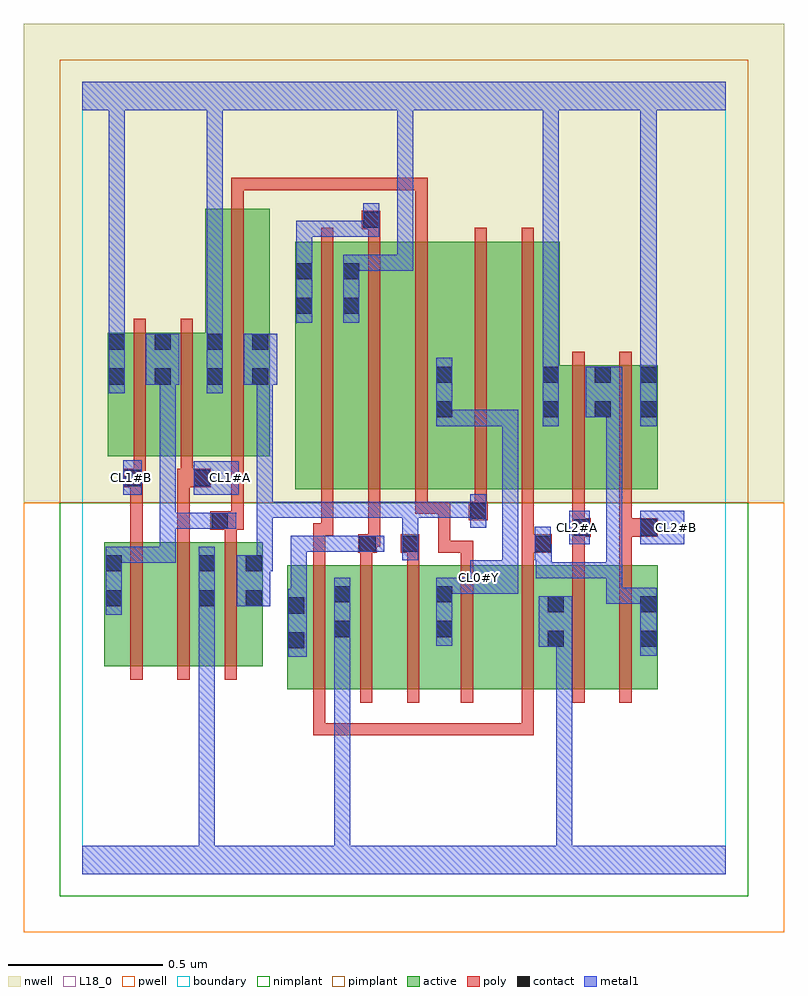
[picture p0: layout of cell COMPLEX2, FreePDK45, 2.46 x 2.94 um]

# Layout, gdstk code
import gdstk
lib = gdstk.Library(unit=1e-6, precision=1e-09)
def R(c, l, rs):  # rectangles x0, y0, x1, y1
    for r in rs: c.add(gdstk.rectangle(r[:2], r[2:], *l))
def A(c, l, x, y, w, h, nx, ny, dx, dy):  # array of equal rectangles
    R(c, l, [(x+i*dx, y+j*dy, x+i*dx+w, y+j*dy+h) for i in range(nx) for j in range(ny)])
active = (1, 0)
pwell = (2, 0)
nwell = (3, 0)
nimplant = (4, 0)
pimplant = (5, 0)
poly = (9, 0)
contact = (10, 0)
metal1 = (11, 0)
L18_0 = (18, 0)
boundary = (235, 0)

complex2 = lib.new_cell('COMPLEX2')
R(complex2, active, [(0.662,0.598,0.722,0.998), (0.662,0.598,0.87,0.998), (0.81,0.598,0.87,0.934), (0.81,0.598,0.994,0.998), (0.994,0.598,1.2,0.998), (1.14,0.598,1.32,0.998), (1.14,0.598,1.2,0.934), (1.32,0.598,1.56,0.998), (1.5,0.598,1.68,0.998), (1.5,0.598,1.56,0.902), (1.68,0.598,1.86,0.998), (1.8,0.598,1.86,0.998), (0.072,0.672,0.252,1.072), (0.252,0.672,0.432,1.072), (0.372,0.672,0.584,1.072), (0.072,0.756,0.132,1.072), (0.372,0.756,0.432,1.072), (0.524,0.756,0.584,1.072), (0.688,1.244,0.748,2.044), (0.688,1.244,0.9,2.044), (0.84,1.244,1.02,2.044), (0.84,1.244,0.9,2.044), (1.02,1.244,1.2,2.044), (1.14,1.244,1.364,2.044), (1.14,1.244,1.2,2.044), (1.364,1.244,1.544,2.044), (1.484,1.244,1.544,1.644), (1.484,1.244,1.712,1.644), (1.652,1.244,1.712,1.644), (1.652,1.244,1.86,1.644), (1.8,1.244,1.86,1.644), (0.082,1.35,0.142,1.75), (0.082,1.35,0.29,1.75), (0.23,1.35,0.29,1.75), (0.23,1.35,0.458,1.75), (0.398,1.35,0.458,1.75), (0.398,1.35,0.606,2.15), (0.546,1.35,0.606,2.044)])
R(complex2, pwell, [(-0.188,-0.188,2.268,1.2)])
R(complex2, nwell, [(-0.188,1.2,2.268,2.748)])
R(complex2, nimplant, [(-0.072,-0.072,2.152,1.2)])
R(complex2, pimplant, [(-0.072,1.2,2.152,2.632)])
A(complex2, poly, 0.746, 0.554, 0.04, 0.488, 3, 1, 0.152, 0)
A(complex2, poly, 0.156, 0.628, 0.04, 0.488, 3, 1, 0.152, 0)
A(complex2, poly, 0.772, 1.2, 0.04, 0.888, 3, 1, 0.152, 0)
R(complex2, poly, [(0.746,0.448,0.786,0.488), (0.746,0.448,0.786,0.594), (0.746,0.448,0.892,0.488), (0.852,0.448,0.892,0.488), (0.852,0.448,0.892,0.488), (0.852,0.448,0.892,0.488), (0.852,0.448,0.998,0.488), (0.958,0.448,0.998,0.488), (0.958,0.448,0.998,0.488), (0.958,0.448,0.998,0.488), (0.958,0.448,1.354,0.488), (1.314,0.448,1.354,0.488), (1.314,0.448,1.354,0.488), (1.314,0.448,1.354,0.488), (1.314,0.448,1.46,0.488), (1.42,0.448,1.46,0.488), (1.42,0.448,1.46,0.488), (1.42,0.448,1.46,0.488), (1.42,0.448,1.46,0.594), (1.224,0.554,1.264,1.042), (1.42,0.554,1.46,1.042), (1.584,0.554,1.624,1.042), (1.736,0.554,1.776,1.042), (0.746,1.002,0.786,1.134), (0.898,1.002,0.938,1.078), (1.05,1.002,1.09,1.078), (1.224,1.002,1.264,1.078), (1.42,1.002,1.46,1.078), (1.584,1.002,1.624,1.13), (1.736,1.002,1.776,1.13), (0.892,1.038,0.952,1.098), (1.03,1.038,1.09,1.098), (1.15,1.038,1.19,1.078), (1.15,1.038,1.264,1.078), (1.15,1.038,1.19,1.204), (1.224,1.038,1.264,1.078), (1.42,1.038,1.518,1.098), (0.912,1.058,0.952,1.098), (0.912,1.058,0.964,1.098), (0.924,1.058,0.964,1.24), (1.42,1.058,1.46,1.098), (1.42,1.058,1.46,1.098), (1.42,1.058,1.46,1.24), (0.156,1.076,0.196,1.29), (0.308,1.076,0.348,1.29), (0.46,1.076,0.5,1.152), (1.584,1.09,1.624,1.13), (1.584,1.09,1.624,1.13), (1.584,1.09,1.644,1.15), (1.736,1.09,1.86,1.15), (0.746,1.094,0.786,1.134), (0.746,1.094,0.786,1.134), (0.746,1.094,0.812,1.134), (0.772,1.094,0.812,1.24), (1.584,1.11,1.624,1.24), (1.736,1.11,1.776,1.24), (1.736,1.11,1.776,1.15), (1.736,1.11,1.776,1.15), (0.414,1.112,0.522,1.172), (0.482,1.132,0.522,1.172), (0.482,1.132,0.522,1.172), (0.482,1.132,0.522,1.346), (1.25,1.144,1.31,1.204), (1.076,1.164,1.116,1.204), (1.076,1.164,1.116,1.24), (1.076,1.164,1.19,1.204), (1.15,1.164,1.19,1.204), (1.268,1.164,1.308,1.24), (1.268,1.2,1.308,2.088), (1.42,1.2,1.46,2.088), (1.584,1.2,1.624,1.688), (1.736,1.2,1.776,1.688), (0.136,1.25,0.196,1.31), (0.308,1.25,0.348,1.29), (0.308,1.25,0.348,1.29), (0.308,1.25,0.416,1.31), (0.156,1.27,0.196,1.31), (0.156,1.27,0.206,1.31), (0.166,1.27,0.206,1.346), (0.318,1.27,0.358,1.346), (0.166,1.306,0.206,1.794), (0.318,1.306,0.358,1.794), (0.482,1.306,0.522,2.194), (0.924,2.048,0.964,2.124), (1.076,2.048,1.116,2.25), (0.904,2.084,0.964,2.144), (0.482,2.154,0.522,2.25), (0.482,2.21,0.522,2.25), (0.482,2.21,0.522,2.25), (0.482,2.21,0.522,2.25), (0.482,2.21,0.628,2.25), (0.588,2.21,0.628,2.25), (0.588,2.21,0.628,2.25), (0.588,2.21,0.628,2.25), (0.588,2.21,0.628,2.25), (0.588,2.21,0.628,2.25), (0.588,2.21,0.892,2.25), (0.852,2.21,0.892,2.25), (0.852,2.21,0.892,2.25), (0.852,2.21,0.892,2.25), (0.852,2.21,1.084,2.25), (1.044,2.21,1.084,2.25), (1.044,2.21,1.116,2.25), (1.076,2.21,1.116,2.25), (1.076,2.21,1.116,2.25), (1.076,2.21,1.116,2.25)])
R(complex2, contact, [(0.666,0.73,0.718,0.782), (1.504,0.734,1.556,0.786), (1.804,0.734,1.856,0.786), (0.814,0.766,0.866,0.818), (1.144,0.766,1.196,0.818), (0.666,0.842,0.718,0.894), (1.504,0.846,1.556,0.898), (1.804,0.846,1.856,0.898), (0.076,0.866,0.128,0.918), (0.376,0.866,0.428,0.918), (0.528,0.866,0.58,0.918), (0.814,0.878,0.866,0.93), (1.144,0.878,1.196,0.93), (0.076,0.978,0.128,1.03), (0.376,0.978,0.428,1.03), (0.528,0.978,0.58,1.03), (0.896,1.042,0.948,1.094), (1.034,1.042,1.086,1.094), (1.462,1.042,1.514,1.094), (1.588,1.094,1.64,1.146), (1.804,1.094,1.856,1.146), (0.418,1.116,0.47,1.168), (1.254,1.148,1.306,1.2), (0.14,1.254,0.192,1.306), (0.36,1.254,0.412,1.306), (1.144,1.476,1.196,1.528), (1.488,1.476,1.54,1.528), (1.656,1.476,1.708,1.528), (1.804,1.476,1.856,1.528), (0.086,1.582,0.138,1.634), (0.234,1.582,0.286,1.634), (0.402,1.582,0.454,1.634), (0.55,1.582,0.602,1.634), (1.144,1.588,1.196,1.64), (1.488,1.588,1.54,1.64), (1.656,1.588,1.708,1.64), (1.804,1.588,1.856,1.64), (0.086,1.694,0.138,1.746), (0.234,1.694,0.286,1.746), (0.402,1.694,0.454,1.746), (0.55,1.694,0.602,1.746), (0.692,1.81,0.744,1.862), (0.844,1.81,0.896,1.862), (0.692,1.922,0.744,1.974), (0.844,1.922,0.896,1.974), (0.908,2.088,0.96,2.14)])
R(complex2, metal1, [(0,0,2.08,0.092), (0.376,0.04,0.428,0.092), (0.376,0.04,0.428,0.092), (0.376,0.04,0.428,0.092), (0.376,0.04,0.428,0.092), (0.376,0.04,0.428,0.092), (0.376,0.04,0.428,0.092), (0.376,0.04,0.428,0.092), (0.376,0.04,0.428,0.092), (0.376,0.04,0.428,0.68), (0.814,0.04,0.866,0.092), (0.814,0.04,0.866,0.092), (0.814,0.04,0.866,0.202), (1.532,0.04,1.584,0.092), (1.532,0.04,1.584,0.092), (1.532,0.04,1.584,0.092), (1.532,0.04,1.584,0.092), (1.532,0.04,1.584,0.092), (1.532,0.04,1.584,0.092), (1.532,0.04,1.584,0.092), (1.532,0.04,1.584,0.092), (1.532,0.04,1.584,0.092), (1.532,0.04,1.584,0.092), (1.532,0.04,1.584,0.092), (1.532,0.04,1.584,0.092), (1.532,0.04,1.584,0.786), (0.814,0.15,0.866,0.202), (0.814,0.15,0.866,0.202), (0.814,0.15,0.866,0.202), (0.814,0.15,0.866,0.202), (0.814,0.15,0.866,0.202), (0.814,0.15,0.866,0.202), (0.814,0.15,0.866,0.202), (0.814,0.15,0.866,0.202), (0.814,0.15,0.866,0.202), (0.814,0.15,0.866,0.79), (0.376,0.628,0.428,0.68), (0.376,0.628,0.428,0.89), (0.666,0.702,0.726,0.922), (1.804,0.706,1.856,0.926), (1.476,0.734,1.584,0.898), (0.814,0.738,0.866,0.958), (1.144,0.738,1.196,0.958), (0.076,0.838,0.128,1.058), (0.376,0.838,0.428,0.89), (0.376,0.838,0.428,0.89), (0.376,0.838,0.428,1.058), (0.5,0.866,0.608,1.03), (0.674,0.87,0.726,1.094), (1.694,0.874,1.746,0.926), (1.694,0.874,1.856,0.926), (1.694,0.874,1.746,1.008), (1.804,0.874,1.856,0.926), (1.804,0.874,1.856,0.926), (1.144,0.906,1.196,0.958), (1.144,0.906,1.196,0.958), (1.144,0.906,1.196,0.958), (1.144,0.906,1.196,0.958), (1.144,0.906,1.306,0.958), (1.254,0.906,1.41,1.014), (1.466,0.956,1.746,1.008), (1.466,0.956,1.518,1.066), (1.694,0.956,1.746,1.008), (1.694,0.956,1.746,1.008), (1.694,0.956,1.746,1.008), (1.694,0.956,1.746,1.008), (1.694,0.956,1.746,1.008), (1.694,0.956,1.746,1.528), (1.358,0.962,1.41,1.014), (1.358,0.962,1.41,1.014), (1.358,0.962,1.41,1.5), (0.556,0.978,0.608,1.03), (0.556,0.978,0.616,1.03), (0.564,0.978,0.616,1.204), (0.076,1.006,0.128,1.058), (0.076,1.006,0.128,1.058), (0.076,1.006,0.302,1.058), (0.25,1.006,0.302,1.058), (0.25,1.006,0.302,1.168), (1.034,1.014,1.086,1.122), (1.462,1.014,1.518,1.066), (1.462,1.014,1.514,1.122), (0.674,1.042,0.726,1.094), (0.674,1.042,0.726,1.094), (0.674,1.042,0.726,1.094), (0.674,1.042,0.92,1.094), (0.868,1.042,0.92,1.094), (0.868,1.042,0.92,1.094), (0.868,1.042,0.976,1.094), (1.574,1.066,1.64,1.174), (1.804,1.066,1.946,1.174), (1.034,1.07,1.086,1.122), (1.034,1.07,1.086,1.122), (1.034,1.07,1.086,1.204), (0.25,1.116,0.302,1.168), (0.25,1.116,0.302,1.168), (0.25,1.116,0.302,1.168), (0.25,1.116,0.302,1.168), (0.25,1.116,0.302,1.168), (0.25,1.116,0.412,1.168), (0.25,1.116,0.302,1.634), (0.36,1.116,0.412,1.168), (0.36,1.116,0.442,1.168), (0.39,1.116,0.498,1.168), (1.254,1.12,1.306,1.228), (0.564,1.152,0.616,1.204), (0.564,1.152,0.616,1.204), (0.564,1.152,0.616,1.204), (0.564,1.152,0.726,1.204), (0.564,1.152,0.616,1.634), (0.674,1.152,0.726,1.204), (0.674,1.152,0.96,1.204), (0.908,1.152,0.96,1.204), (0.908,1.152,0.96,1.204), (0.908,1.152,0.96,1.204), (0.908,1.152,1.086,1.204), (1.034,1.152,1.086,1.204), (1.034,1.152,1.086,1.204), (1.034,1.152,1.086,1.204), (1.034,1.152,1.196,1.204), (1.144,1.152,1.196,1.204), (1.144,1.152,1.306,1.204), (0.132,1.226,0.192,1.338), (0.36,1.226,0.506,1.334), (1.144,1.448,1.196,1.5), (1.144,1.448,1.196,1.5), (1.144,1.448,1.196,1.668), (1.144,1.448,1.41,1.5), (1.358,1.448,1.41,1.5), (1.488,1.448,1.54,1.668), (1.804,1.448,1.856,1.668), (1.628,1.476,1.746,1.64), (0.086,1.554,0.138,1.774), (0.402,1.554,0.454,1.774), (0.206,1.582,0.314,1.746), (0.522,1.582,0.63,1.746), (1.488,1.616,1.54,2.52), (1.804,1.616,1.856,1.668), (1.804,1.616,1.856,1.668), (1.804,1.616,1.856,1.668), (1.804,1.616,1.856,1.668), (1.804,1.616,1.856,1.668), (1.804,1.616,1.856,1.668), (1.804,1.616,1.856,1.668), (1.804,1.616,1.856,1.668), (1.804,1.616,1.856,1.668), (1.804,1.616,1.856,1.668), (1.804,1.616,1.856,2.52), (0.086,1.722,0.138,1.782), (0.402,1.722,0.454,1.774), (0.402,1.722,0.454,1.774), (0.402,1.722,0.454,2.52), (0.086,1.73,0.138,1.782), (0.086,1.73,0.138,1.782), (0.086,1.73,0.138,1.782), (0.086,1.73,0.138,1.856), (0.692,1.782,0.744,2.002), (0.844,1.782,0.896,2.002), (0.086,1.804,0.138,1.856), (0.086,1.804,0.138,1.856), (0.086,1.804,0.138,1.856), (0.086,1.804,0.138,2.52), (0.692,1.95,0.744,2.112), (0.844,1.95,0.896,2.002), (0.844,1.95,0.896,2.002), (0.844,1.95,1.07,2.002), (1.018,1.95,1.07,2.002), (1.018,1.95,1.07,2.52), (0.692,2.06,0.744,2.112), (0.692,2.06,0.744,2.112), (0.692,2.06,0.744,2.112), (0.692,2.06,0.96,2.112), (0.908,2.06,0.96,2.112), (0.908,2.06,0.96,2.112), (0.908,2.06,0.96,2.168), (0,2.468,2.08,2.56), (0.086,2.468,0.138,2.52), (0.086,2.468,0.138,2.52), (0.086,2.468,0.138,2.52), (0.086,2.468,0.138,2.52), (0.086,2.468,0.138,2.52), (0.086,2.468,0.138,2.52), (0.086,2.468,0.138,2.52), (0.086,2.468,0.138,2.52), (0.402,2.468,0.454,2.52), (0.402,2.468,0.454,2.52), (0.402,2.468,0.454,2.52), (0.402,2.468,0.454,2.52), (0.402,2.468,0.454,2.52), (0.402,2.468,0.454,2.52), (1.018,2.468,1.07,2.52), (1.018,2.468,1.07,2.52), (1.018,2.468,1.07,2.52), (1.018,2.468,1.07,2.52), (1.018,2.468,1.07,2.52), (1.018,2.468,1.07,2.52), (1.018,2.468,1.07,2.52), (1.018,2.468,1.07,2.52), (1.488,2.468,1.54,2.52), (1.488,2.468,1.54,2.52), (1.488,2.468,1.54,2.52), (1.488,2.468,1.54,2.52), (1.488,2.468,1.54,2.52), (1.488,2.468,1.54,2.52), (1.488,2.468,1.54,2.52), (1.488,2.468,1.54,2.52), (1.804,2.468,1.856,2.52), (1.804,2.468,1.856,2.52), (1.804,2.468,1.856,2.52), (1.804,2.468,1.856,2.52), (1.804,2.468,1.856,2.52), (1.804,2.468,1.856,2.52)])
R(complex2, L18_0, [(0,0,2.08,0.092), (0.376,0.04,0.428,0.092), (0.376,0.04,0.428,0.092), (0.376,0.04,0.428,0.092), (0.376,0.04,0.428,0.092), (0.376,0.04,0.428,0.092), (0.376,0.04,0.428,0.092), (0.376,0.04,0.428,0.092), (0.376,0.04,0.428,0.092), (0.376,0.04,0.428,0.68), (0.814,0.04,0.866,0.092), (0.814,0.04,0.866,0.092), (0.814,0.04,0.866,0.202), (1.532,0.04,1.584,0.092), (1.532,0.04,1.584,0.092), (1.532,0.04,1.584,0.092), (1.532,0.04,1.584,0.092), (1.532,0.04,1.584,0.092), (1.532,0.04,1.584,0.092), (1.532,0.04,1.584,0.092), (1.532,0.04,1.584,0.092), (1.532,0.04,1.584,0.092), (1.532,0.04,1.584,0.092), (1.532,0.04,1.584,0.092), (1.532,0.04,1.584,0.092), (1.532,0.04,1.584,0.786), (0.814,0.15,0.866,0.202), (0.814,0.15,0.866,0.202), (0.814,0.15,0.866,0.202), (0.814,0.15,0.866,0.202), (0.814,0.15,0.866,0.202), (0.814,0.15,0.866,0.202), (0.814,0.15,0.866,0.202), (0.814,0.15,0.866,0.202), (0.814,0.15,0.866,0.202), (0.814,0.15,0.866,0.79), (0.376,0.628,0.428,0.68), (0.376,0.628,0.428,0.89), (1.476,0.734,1.584,0.898), (0.814,0.738,0.866,0.958), (1.144,0.738,1.196,0.958), (0.376,0.838,0.428,1.058), (0.376,0.838,0.428,0.89), (0.376,0.838,0.428,0.89), (1.144,0.906,1.196,0.958), (1.144,0.906,1.196,0.958), (1.144,0.906,1.196,0.958), (1.144,0.906,1.196,0.958), (1.144,0.906,1.306,0.958), (1.254,0.906,1.41,1.014), (1.254,0.934,1.306,0.986), (1.358,0.962,1.41,1.014), (1.358,0.962,1.41,1.014), (1.358,0.962,1.41,1.5), (1.574,1.066,1.64,1.174), (1.804,1.066,1.946,1.174), (1.574,1.094,1.626,1.146), (1.894,1.094,1.946,1.146), (0.132,1.226,0.192,1.338), (0.36,1.226,0.506,1.334), (0.134,1.254,0.186,1.306), (0.454,1.254,0.506,1.306), (1.144,1.448,1.196,1.668), (1.144,1.448,1.196,1.5), (1.144,1.448,1.196,1.5), (1.144,1.448,1.41,1.5), (1.358,1.448,1.41,1.5), (1.488,1.448,1.54,1.668), (1.804,1.448,1.856,1.668), (0.086,1.554,0.138,1.774), (0.402,1.554,0.454,1.774), (1.488,1.616,1.54,2.52), (1.804,1.616,1.856,1.668), (1.804,1.616,1.856,1.668), (1.804,1.616,1.856,1.668), (1.804,1.616,1.856,1.668), (1.804,1.616,1.856,1.668), (1.804,1.616,1.856,1.668), (1.804,1.616,1.856,1.668), (1.804,1.616,1.856,1.668), (1.804,1.616,1.856,1.668), (1.804,1.616,1.856,1.668), (1.804,1.616,1.856,2.52), (0.086,1.722,0.138,1.782), (0.402,1.722,0.454,1.774), (0.402,1.722,0.454,1.774), (0.402,1.722,0.454,2.52), (0.086,1.73,0.138,1.782), (0.086,1.73,0.138,1.782), (0.086,1.73,0.138,1.782), (0.086,1.73,0.138,1.856), (0.844,1.782,0.896,2.002), (0.086,1.804,0.138,1.856), (0.086,1.804,0.138,1.856), (0.086,1.804,0.138,1.856), (0.086,1.804,0.138,2.52), (0.844,1.95,0.896,2.002), (0.844,1.95,0.896,2.002), (0.844,1.95,1.07,2.002), (1.018,1.95,1.07,2.002), (1.018,1.95,1.07,2.52), (0,2.468,2.08,2.56), (0.086,2.468,0.138,2.52), (0.086,2.468,0.138,2.52), (0.086,2.468,0.138,2.52), (0.086,2.468,0.138,2.52), (0.086,2.468,0.138,2.52), (0.086,2.468,0.138,2.52), (0.086,2.468,0.138,2.52), (0.086,2.468,0.138,2.52), (0.402,2.468,0.454,2.52), (0.402,2.468,0.454,2.52), (0.402,2.468,0.454,2.52), (0.402,2.468,0.454,2.52), (0.402,2.468,0.454,2.52), (0.402,2.468,0.454,2.52), (1.018,2.468,1.07,2.52), (1.018,2.468,1.07,2.52), (1.018,2.468,1.07,2.52), (1.018,2.468,1.07,2.52), (1.018,2.468,1.07,2.52), (1.018,2.468,1.07,2.52), (1.018,2.468,1.07,2.52), (1.018,2.468,1.07,2.52), (1.488,2.468,1.54,2.52), (1.488,2.468,1.54,2.52), (1.488,2.468,1.54,2.52), (1.488,2.468,1.54,2.52), (1.488,2.468,1.54,2.52), (1.488,2.468,1.54,2.52), (1.488,2.468,1.54,2.52), (1.488,2.468,1.54,2.52), (1.804,2.468,1.856,2.52), (1.804,2.468,1.856,2.52), (1.804,2.468,1.856,2.52), (1.804,2.468,1.856,2.52), (1.804,2.468,1.856,2.52), (1.804,2.468,1.856,2.52)])
R(complex2, boundary, [(0,0,2.08,2.56)])
complex2.add(gdstk.Label('CL0#Y', (1.28,0.96), layer=11, texttype=0))
complex2.add(gdstk.Label('CL1#A', (0.48,1.28), layer=11, texttype=0))
complex2.add(gdstk.Label('CL1#B', (0.16,1.28), layer=11, texttype=0))
complex2.add(gdstk.Label('CL2#A', (1.6,1.12), layer=11, texttype=0))
complex2.add(gdstk.Label('CL2#B', (1.92,1.12), layer=11, texttype=0))

lib.write_gds('COMPLEX2.gds')
